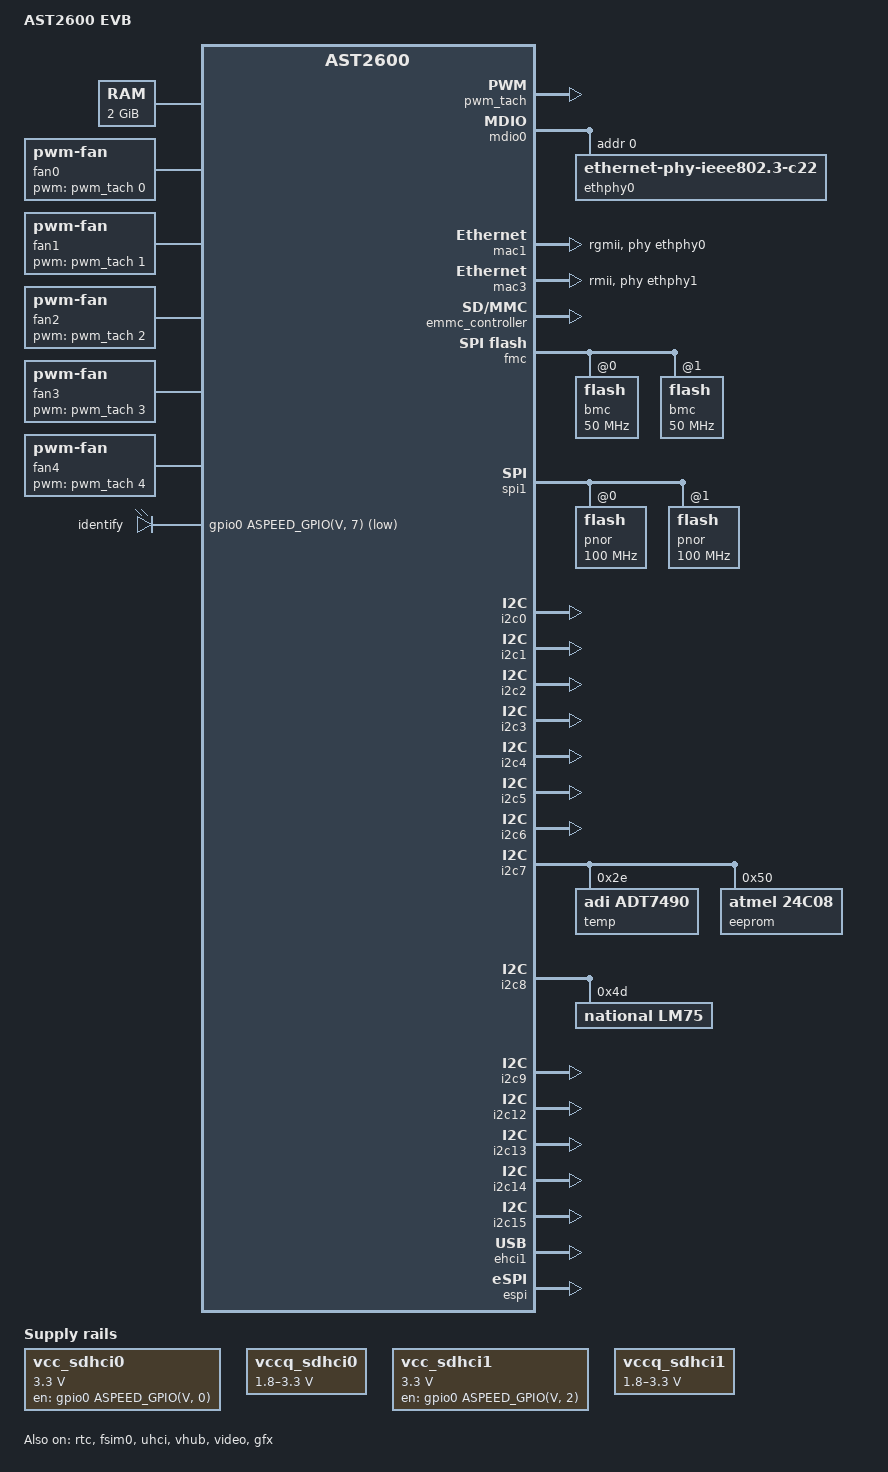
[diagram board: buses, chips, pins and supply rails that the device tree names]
// SPDX-License-Identifier: GPL-2.0-or-later
// Copyright 2019 IBM Corp.

/dts-v1/;

#include "aspeed-g6.dtsi"
#include <dt-bindings/gpio/aspeed-gpio.h>

/ {
	model = "AST2600 EVB";
	compatible = "aspeed,ast2600-evb", "aspeed,ast2600";

	aliases {
		serial4 = &uart5;
	};

	chosen {
		bootargs = "console=ttyS4,115200n8";
	};

	memory@80000000 {
		device_type = "memory";
		reg = <0x80000000 0x80000000>;
	};

	reserved-memory {
		#address-cells = <1>;
		#size-cells = <1>;
		ranges;

		video_engine_memory: video {
			size = <0x04000000>;
			alignment = <0x01000000>;
			compatible = "shared-dma-pool";
			reusable;
		};

		gfx_memory: framebuffer {
			size = <0x01000000>;
			alignment = <0x01000000>;
			compatible = "shared-dma-pool";
			reusable;
		};
	};

	vcc_sdhci0: regulator-vcc-sdhci0 {
		compatible = "regulator-fixed";
		regulator-name = "SDHCI0 Vcc";
		regulator-min-microvolt = <3300000>;
		regulator-max-microvolt = <3300000>;
		gpios = <&gpio0 ASPEED_GPIO(V, 0) GPIO_ACTIVE_HIGH>;
		enable-active-high;
	};

	vccq_sdhci0: regulator-vccq-sdhci0 {
		compatible = "regulator-gpio";
		regulator-name = "SDHCI0 VccQ";
		regulator-min-microvolt = <1800000>;
		regulator-max-microvolt = <3300000>;
		gpios = <&gpio0 ASPEED_GPIO(V, 1) GPIO_ACTIVE_HIGH>;
		gpios-states = <1>;
		states = <3300000 1>,
			 <1800000 0>;
	};

	vcc_sdhci1: regulator-vcc-sdhci1 {
		compatible = "regulator-fixed";
		regulator-name = "SDHCI1 Vcc";
		regulator-min-microvolt = <3300000>;
		regulator-max-microvolt = <3300000>;
		gpios = <&gpio0 ASPEED_GPIO(V, 2) GPIO_ACTIVE_HIGH>;
		enable-active-high;
	};

	vccq_sdhci1: regulator-vccq-sdhci1 {
		compatible = "regulator-gpio";
		regulator-name = "SDHCI1 VccQ";
		regulator-min-microvolt = <1800000>;
		regulator-max-microvolt = <3300000>;
		gpios = <&gpio0 ASPEED_GPIO(V, 3) GPIO_ACTIVE_HIGH>;
		gpios-states = <1>;
		states = <3300000 1>,
			 <1800000 0>;
	};

	fan0: pwm-fan0 {
		compatible = "pwm-fan";
		pwms = <&pwm_tach 0 40000 0>;        /* Target freq:25 kHz */
		cooling-min-state = <0>;
		cooling-max-state = <3>;
		#cooling-cells = <2>;
		cooling-levels = <0 25 128 255>;
	};

	fan1: pwm-fan1 {
		compatible = "pwm-fan";
		pwms = <&pwm_tach 1 40000 0>;        /* Target freq:25 kHz */
		cooling-min-state = <0>;
		cooling-max-state = <3>;
		#cooling-cells = <2>;
		cooling-levels = <0 15 128 255>;
	};

	fan2: pwm-fan2 {
		compatible = "pwm-fan";
		pwms = <&pwm_tach 2 40000 0>;        /* Target freq:25 kHz */
		cooling-min-state = <0>;
		cooling-max-state = <3>;
		#cooling-cells = <2>;
		cooling-levels = <0 15 128 255>;
	};

	fan3: pwm-fan3 {
		compatible = "pwm-fan";
		pwms = <&pwm_tach 3 40000 0>;        /* Target freq:25 kHz */
		cooling-min-state = <0>;
		cooling-max-state = <3>;
		#cooling-cells = <2>;
		cooling-levels = <0 15 128 255>;
	};

	fan4: pwm-fan4 {
		compatible = "pwm-fan";
		pwms = <&pwm_tach 4 40000 0>;        /* Target freq:25 kHz */
		cooling-min-state = <0>;
		cooling-max-state = <3>;
		#cooling-cells = <2>;
		cooling-levels = <0 15 128 255>;
	};

	leds {
		compatible = "gpio-leds";

		identify {
			gpios = <&gpio0 ASPEED_GPIO(V, 7) GPIO_ACTIVE_LOW>;
		};
	};

};

&pwm_tach {
	status = "okay";
	pinctrl-names = "default";
	pinctrl-0 = <&pinctrl_pwm0_default
				&pinctrl_pwm1_default
				&pinctrl_pwm2_default
				&pinctrl_pwm3_default
				&pinctrl_pwm4_default
				&pinctrl_tach0_default
				&pinctrl_tach1_default
				&pinctrl_tach2_default
				&pinctrl_tach3_default
				&pinctrl_tach4_default>;
	fan-0 {
		tach-ch = /bits/ 8 <0x0>;
	};
	fan-1 {
		tach-ch = /bits/ 8 <0x1>;
	};
	fan-2 {
		tach-ch = /bits/ 8 <0x2>;
	};
	fan-3 {
		tach-ch = /bits/ 8 <0x3>;
	};
	fan-4 {
		tach-ch = /bits/ 8 <0x4>;
	};
};

&mdio0 {
	status = "okay";
	ethphy0: ethernet-phy@0 {
		compatible = "ethernet-phy-ieee802.3-c22";
		reg = <0>;
	};
};

&mdio1 {
	status = "disabled";

	ethphy1: ethernet-phy@0 {
		compatible = "ethernet-phy-ieee802.3-c22";
		reg = <0>;
	};
};

&mdio2 {
	status = "disabled";

	ethphy2: ethernet-phy@0 {
		compatible = "ethernet-phy-ieee802.3-c22";
		reg = <0>;
	};
};

&mdio3 {
	status = "disabled";

	ethphy3: ethernet-phy@0 {
		compatible = "ethernet-phy-ieee802.3-c22";
		reg = <0>;
	};
};

&mac0 {
	status = "disabled";

	phy-mode = "rgmii-rxid";
	phy-handle = <&ethphy0>;

	pinctrl-names = "default";
	pinctrl-0 = <&pinctrl_rgmii1_default>;
};


&mac1 {
	status = "okay";

	phy-mode = "rgmii";
	phy-handle = <&ethphy0>;

	pinctrl-names = "default";
	pinctrl-0 = <&pinctrl_rgmii2_default>;
};

&mac2 {
	status = "disabled";

	phy-mode = "rgmii";
	phy-handle = <&ethphy2>;

	pinctrl-names = "default";
	pinctrl-0 = <&pinctrl_rgmii3_default>;
};

&mac3 {
	status = "okay";

	phy-mode = "rmii";
	phy-handle = <&ethphy1>;
	use-ncsi;
	pinctrl-names = "default";
	pinctrl-0 = <&pinctrl_rmii4_default>;
};

&emmc_controller {
	status = "okay";
};

&emmc {
	status = "disabled";
	non-removable;
	bus-width = <4>;
	max-frequency = <100000000>;
	clk-phase-mmc-hs200 = <9>, <225>;
};

&rtc {
	status = "okay";
};

&fmc {
	status = "okay";
	flash@0 {
		status = "okay";
		m25p,fast-read;
		label = "bmc";
		spi-rx-bus-width = <4>;
		spi-max-frequency = <50000000>;
#include "openbmc-flash-layout-64.dtsi"
	};
	flash@1 {
		status = "okay";
		m25p,fast-read;
		label = "bmc";
		spi-rx-bus-width = <4>;
		spi-max-frequency = <50000000>;
	};
};

&spi1 {
	status = "okay";
	pinctrl-names = "default";
	pinctrl-0 = <&pinctrl_spi1_default>;

	flash@0 {
		status = "okay";
		m25p,fast-read;
		label = "pnor";
		spi-rx-bus-width = <4>;
		spi-max-frequency = <100000000>;
	};
	flash@1 {
		status = "okay";
		m25p,fast-read;
		label = "pnor";
		spi-rx-bus-width = <4>;
		spi-max-frequency = <100000000>;
	};
};

&uart5 {
	// Workaround for A0
	compatible = "snps,dw-apb-uart";
};

&i2c0 {
	status = "okay";
};

&i2c1 {
	status = "okay";
};

&i2c2 {
	status = "okay";
};

&i2c3 {
	status = "okay";
};

&i2c4 {
	status = "okay";
};

&i2c5 {
	status = "okay";
};

&i2c6 {
	status = "okay";
};

&i2c7 {
	status = "okay";

	temp@2e {
		compatible = "adi,adt7490";
		reg = <0x2e>;
	};

	eeprom@50 {
		compatible = "atmel,24c08";
		reg = <0x50>;
		pagesize = <16>;
	};
};

&i2c8 {
	status = "okay";

	lm75@4d {
		compatible = "national,lm75";
		reg = <0x4d>;
	};
};

&i2c9 {
	status = "okay";
};

&i2c12 {
	status = "okay";
};

&i2c13 {
	status = "okay";
};

&i2c14 {
	status = "okay";
};

&i2c15 {
	status = "okay";
};

&fsim0 {
	status = "okay";
};

&ehci1 {
	status = "okay";
};

&uhci {
	status = "okay";
};

/*
 * The signal voltage of sdhci0 and sdhci1 on AST2600-A2 EVB is able to be
 * toggled by GPIO pins.
 * In the reference design, GPIOV0 of AST2600-A2 EVB is connected to the
 * power load switch that provides 3.3v to sdhci0 vdd, GPIOV1 is connected to
 * a 1.8v and a 3.3v power load switch that provides signal voltage to
 * sdhci0 bus.
 * If GPIOV0 is active high, sdhci0 is enabled, otherwise, sdhci0 is disabled.
 * If GPIOV1 is active high, 3.3v power load switch is enabled, sdhci0 signal
 * voltage is 3.3v, otherwise, 1.8v power load switch will be enabled,
 * sdhci0 signal voltage becomes 1.8v.
 * AST2600-A2 EVB also supports toggling signal voltage for sdhci1.
 * The design is the same as sdhci0, it uses GPIOV2 as power-gpio and GPIOV3
 * as power-switch-gpio.
 */

&vhub {
	status = "okay";
	pinctrl-names = "default";
};

&video {
	status = "okay";
	memory-region = <&video_engine_memory>;
};

&gfx {
	status = "okay";
	memory-region = <&gfx_memory>;
};

&espi {
	status = "okay";
};

&syscon {
	uart-clock-high-speed;
	mac1-clk-delay = <0x10 0x19
						0x10 0x10
						0x10 0x10>;
};

&gpio0 {
	gpio-line-names =
		/*A0 - A7*/     "", "", "", "", "", "", "", "",
		/*B0 - B7*/     "", "", "", "", "", "", "", "",
		/*C0 - C7*/     "", "", "", "", "", "", "", "",
		/*D0 - D7*/     "", "", "", "", "", "", "", "",
		/*E0 - E7*/     "", "", "", "", "", "", "", "",
		/*F0 - F7*/     "", "", "", "", "", "", "", "",
		/*G0 - G7*/     "", "", "", "", "", "", "", "id-button",
		/*H0 - H7*/     "", "", "", "", "", "", "", "",
		/*I0 - I7*/     "", "", "", "", "", "", "", "",
		/*J0 - J7*/     "", "", "", "", "", "", "", "",
		/*K0 - K7*/     "", "", "", "", "", "", "", "",
		/*L0 - L7*/     "", "", "", "", "", "", "", "",
		/*M0 - M7*/     "", "", "", "", "", "", "", "",
		/*N0 - N7*/     "", "", "", "", "", "", "", "",
		/*O0 - O7*/     "", "", "", "", "", "", "", "",
		/*P0 - P7*/     "", "POWER_OUT", "", "RESET_OUT", "", "", "", "",
		/*Q0 - Q7*/     "", "", "", "", "", "", "", "",
		/*R0 - R7*/     "POST_COMPLETE", "", "", "", "", "", "", "",	// POST_COMPLETE is dummy
		/*S0 - S7*/     "", "", "", "", "", "", "", "",
		/*T0 - T7*/     "", "", "", "", "", "", "", "",
		/*U0 - U7*/     "", "", "", "", "", "", "", "",
		/*V0 - V7*/     "", "", "", "", "", "", "", "led-identify",
		/*W0 - W7*/     "", "", "", "", "", "", "", "",
		/*X0 - X7*/     "", "", "", "", "", "", "", "",
		/*Y0 - Y7*/     "", "", "", "", "", "", "", "",
		/*Z0 - Z7*/     "", "", "", "", "", "", "", "";
};

&gpio1{
	gpio-line-names =
	/*AA0 - AA7*/   "PS_PWROK", "", "", "", "", "", "", "",
	/*AB0 - AB7*/   "", "", "", "", "", "", "", "",
	/*AC0 - AC7*/   "", "", "", "", "", "", "", "";
};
